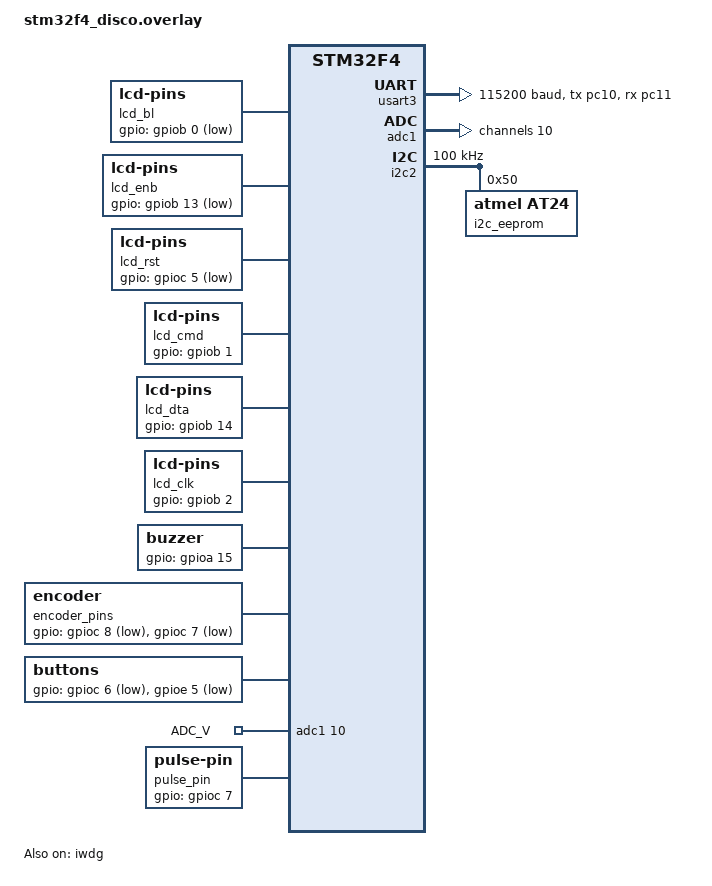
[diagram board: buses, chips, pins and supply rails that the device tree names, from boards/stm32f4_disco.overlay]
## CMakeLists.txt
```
# SPDX-License-Identifier: Apache-2.0

cmake_minimum_required(VERSION 3.20.0)

set(ZEPHYR_EXTRA_MODULES $ENV{ZEPHYR_BASE}../../modules/zpp)
find_package(Zephyr REQUIRED HINTS $ENV{ZEPHYR_BASE})
project(Project)

FILE(GLOB app_sources ${PROJECT_SOURCE_DIR}/src/*.cpp)
target_sources(app PRIVATE ${app_sources})

include_directories(inc)
```

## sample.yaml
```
sample:
  name: DS18B20 Sogi PLL Control
common:
  harness: console
  tags: sensors
tests:
  sample.sensor.ds18b20.w1_serial:
    platform_allow:
      - stm32l1_disco
      - stm32f4_disco
    integration_platforms:
      - stm32l1_disco
      - stm32f4_disco
    harness_config:
      type: one_line
      regex:
        - "Temp: (.*)"
      fixture: fixture_w1_serial_ds18b20
    platform_allow: stm32l1_disco
    integration_platforms:
      - stm32l1_disco
    harness_config:
      type: one_line
      regex:
        - "Temp: (.*)"
```

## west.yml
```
# Copyright (c) 2021 Nordic Semiconductor ASA
# SPDX-License-Identifier: Apache-2.0

manifest:
  remotes:    
    - name: zephyr_cergan
      url-base: https://github.com/coskunergan
    - name: zpp_remote
      url-base: https://github.com/lowlander      

  projects:
    - name: zephyr
      remote: zephyr_cergan
      clone-depth: 1
      revision: zephyr_cergan
      import:
        name-allowlist:
          - cmsis
          - cmsis-dsp
          - hal_stm32
    - name: zpp
      remote: zpp_remote
      revision: master
      path: modules/zpp          
```

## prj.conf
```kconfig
CONFIG_SENSOR=y
CONFIG_W1=y
CONFIG_ADC=y
CONFIG_ADC_ASYNC=y
CONFIG_GPIO=y
CONFIG_TEST=y
CONFIG_CPLUSPLUS=y
CONFIG_STD_CPP20=y
CONFIG_NEWLIB_LIBC=y
CONFIG_NEWLIB_LIBC_NANO=y
CONFIG_SPEED_OPTIMIZATIONS=y
CONFIG_NEWLIB_LIBC_FLOAT_PRINTF=y
CONFIG_CBPRINTF_FP_SUPPORT=y
CONFIG_LIB_CPLUSPLUS=y
CONFIG_HEAP_MEM_POOL_SIZE=1024
CONFIG_DEBUG_OPTIMIZATIONS=n
CONFIG_EEPROM=y
CONFIG_PRINTK=y
CONFIG_CMSIS_DSP=y
CONFIG_DAC=y
CONFIG_WATCHDOG=y
CONFIG_WDT_DISABLE_AT_BOOT=n
#CONFIG_COMPILER_OPT="-Wall -Wextra -Werror -Wno-error=empty-body -Wno-error=unused-parameter -Wno-error=type-limits -Wno-error=missing-field-initializers -Wno-error=sign-compare -Wno-error=ignored-qualifiers -Wno-error=old-style-declaration -Wno-error=cast-function-type"
```

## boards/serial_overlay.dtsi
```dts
&usart3 {
	status = "okay";

	w1_0: w1-zephyr-serial-0 {
		compatible = "zephyr,w1-serial";
		#address-cells = <1>;
		#size-cells = <0>;
		status = "okay";

		ds18b20 {
			compatible = "maxim,ds18b20";
			family-code = <0x28>;
			resolution = <12>;
			status = "okay";
		};
	};
};

&adc1 {
	pinctrl-0 = <&adc_in10_pc0>;
	pinctrl-names = "default";
	status = "okay";
};
```

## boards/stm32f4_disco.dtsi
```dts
&usart3 {
	status = "okay";

	w1_0: w1-zephyr-serial-0 {
		compatible = "zephyr,w1-serial";
		#address-cells = <1>;
		#size-cells = <0>;
		status = "okay";

		ds18b20 {
			compatible = "maxim,ds18b20";
			family-code = <0x28>;
			resolution = <12>;
			status = "okay";
		};
	};
};

&adc1 {
	pinctrl-0 = <&adc1_in10_pc0>;
	pinctrl-names = "default";
	st,adc-prescaler = <2>;
	status = "okay";
};

&dac1 {
	pinctrl-0 = <&dac_out2_pa5>;
	pinctrl-names = "default";	
	status = "okay";
};

&i2c2{
	pinctrl-0 = <&i2c2_scl_pb10 &i2c2_sda_pb11>;
	pinctrl-names = "default";
	status = "okay";	
};
```

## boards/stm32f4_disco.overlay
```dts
#include "stm32f4_disco.dtsi"

/ {
	lcd_bl: lcd_bl {			
		compatible = "lcd-pins";
		gpios = <&gpiob 0 GPIO_ACTIVE_LOW>;	
	};
	lcd_enb: lcd_enb {			
		compatible = "lcd-pins";
		gpios = <&gpiob 13 GPIO_ACTIVE_LOW>;
	};
	lcd_rst: lcd_rst {			
		compatible = "lcd-pins";
		gpios = <&gpioc 5 GPIO_ACTIVE_LOW>;
	};		
	lcd_cmd: lcd_cmd {			
		compatible = "lcd-pins";
		gpios = <&gpiob 1 GPIO_ACTIVE_HIGH>;
	};		
	lcd_dta: lcd_dta {			
		compatible = "lcd-pins";
		gpios = <&gpiob 14 GPIO_ACTIVE_HIGH>;
	};		
	lcd_clk: lcd_clk {			
		compatible = "lcd-pins";
		gpios = <&gpiob 2 GPIO_ACTIVE_HIGH>;
	};			
	buzzer: buzzer {
		compatible = "buzzer";
		gpios = <&gpioa 15 GPIO_ACTIVE_HIGH>;
	};
	encoder_pins: encoder_pins {
		compatible = "encoder";
		gpios = <&gpioc 8 (GPIO_ACTIVE_LOW | GPIO_PULL_UP)>,
				<&gpioc 7 (GPIO_ACTIVE_LOW | GPIO_PULL_UP)>;
	};
	buttons: buttons {
		compatible = "buttons";
		gpios = <&gpioc 6 (GPIO_ACTIVE_LOW | GPIO_PULL_UP)>,
				<&gpioe 5 (GPIO_ACTIVE_LOW | GPIO_PULL_UP)>;
	};	
	zephyr,user {
		/* adjust channel number according to pinmux in board.dts */
		io-channels = <&adc1 10>;
		io-channel-names = "ADC_V";
		dac = <&dac1>;
		dac-channel-id = <2>;
		dac-resolution = <12>;			
	};	
	aliases {		
		eeprom-0 = &i2c_eeprom;
		watchdog0 = &iwdg;
	};	
	pulse_pin: pulse_pin {			
		compatible = "pulse-pin";
		gpios = <&gpioc 7 GPIO_ACTIVE_HIGH>;
	};					
};

&usart3 {
	pinctrl-0 = <&usart3_tx_pc10 &usart3_rx_pc11>;
	pinctrl-names = "default";
	current-speed = <115200>;
	status = "okay";
};

&usart3_tx_pc10 {
	drive-open-drain;
	bias-pull-up;
};

&adc1 {
	#address-cells = <1>;
	#size-cells = <0>;
 
	channel@10 {
		reg = <10>;
		zephyr,gain = "ADC_GAIN_1";
		zephyr,reference = "ADC_REF_INTERNAL";
		zephyr,acquisition-time = <ADC_ACQ_TIME_DEFAULT>;
		zephyr,resolution = <12>;
	};
};

&i2c2 {		
	//clock-frequency = <I2C_BITRATE_FAST>;
	clock-frequency = <I2C_BITRATE_STANDARD>;
	status = "okay";	
	i2c_eeprom: eeprom@50 {
		status = "okay";	
		compatible = "atmel,at24"; 		
		reg = <0x50>;//0x57
		size = <65536>;//256
		pagesize = <128>;//8
		address-width = <16>;//8
		timeout = <5>;
	};
};

&iwdg {
	status = "okay";
};

&wwdg {
	status = "disabled";
};
```

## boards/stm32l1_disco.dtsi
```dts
&usart3 {
	status = "okay";

	w1_0: w1-zephyr-serial-0 {
		compatible = "zephyr,w1-serial";
		#address-cells = <1>;
		#size-cells = <0>;
		status = "okay";

		ds18b20 {
			compatible = "maxim,ds18b20";
			family-code = <0x28>;
			resolution = <12>;
			status = "okay";
		};
	};
};

&adc1 {
	pinctrl-0 = <&adc_in10_pc0>;
	pinctrl-names = "default";
    st,adc-prescaler = <1>;
	status = "okay";
};

&dac1 {
	pinctrl-0 = <&dac_out2_pa5>;
	pinctrl-names = "default";	
	status = "okay";
};
```

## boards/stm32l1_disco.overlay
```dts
#include "stm32l1_disco.dtsi"

/ {	
	lcd_bl: lcd_bl {			
		compatible = "lcd-pins";
		gpios = <&gpiob 0 GPIO_ACTIVE_LOW>;	
	};
	lcd_enb: lcd_enb {			
		compatible = "lcd-pins";
		gpios = <&gpiob 13 GPIO_ACTIVE_LOW>;
	};
	lcd_rst: lcd_rst {			
		compatible = "lcd-pins";
		gpios = <&gpioc 5 GPIO_ACTIVE_LOW>;
	};		
	lcd_cmd: lcd_cmd {			
		compatible = "lcd-pins";
		gpios = <&gpiob 1 GPIO_ACTIVE_HIGH>;
	};		
	lcd_dta: lcd_dta {			
		compatible = "lcd-pins";
		gpios = <&gpiob 14 GPIO_ACTIVE_HIGH>;
	};		
	lcd_clk: lcd_clk {			
		compatible = "lcd-pins";
		gpios = <&gpiob 2 GPIO_ACTIVE_HIGH>;
	};			
	buzzer: buzzer {
		compatible = "buzzer";
		gpios = <&gpioa 11 GPIO_ACTIVE_LOW>;
	};
	encoder_pins: encoder_pins {
		compatible = "encoder";
		gpios = <&gpiob 5 (GPIO_ACTIVE_LOW | GPIO_PULL_UP)>,
				<&gpiob 4 (GPIO_ACTIVE_LOW | GPIO_PULL_UP)>;
	};
	buttons: buttons {
		compatible = "buttons";
		gpios = <&gpioa 0 (GPIO_ACTIVE_LOW | GPIO_PULL_UP)>,
				<&gpioc 13 (GPIO_ACTIVE_LOW | GPIO_PULL_UP)>;
	};
	zephyr,user {
		/* adjust channel number according to pinmux in board.dts */
		io-channels = <&adc1 10>;
		io-channel-names = "ADC_V";

		dac = <&dac1>;
		dac-channel-id = <2>;
		dac-resolution = <12>;		
	};	
	aliases {
		//eeprom-0 = &eeprom;
		eeprom-0 = &i2c_eeprom;
		watchdog0 = &iwdg;
	};
	pulse_pin: pulse_pin {			
		compatible = "pulse-pin";
		gpios = <&gpioc 7 GPIO_ACTIVE_HIGH>;
	};	
};

&usart3 {
	pinctrl-0 = <&usart3_tx_pc10 &usart3_rx_pc11>;
	pinctrl-names = "default";
	current-speed = <115200>;
	status = "okay";
};

&usart3_tx_pc10 {
	drive-open-drain;
	bias-pull-up;
};

&adc1 {
	#address-cells = <1>;
	#size-cells = <0>;
 
	channel@10 {
		reg = <10>;
		zephyr,gain = "ADC_GAIN_1";
		zephyr,reference = "ADC_REF_INTERNAL";
		zephyr,acquisition-time = <ADC_ACQ_TIME_DEFAULT>;
		zephyr,resolution = <12>;
	};
};

&eeprom {	
	status = "okay";	
};

&i2c2 {		
	//clock-frequency = <I2C_BITRATE_FAST>;
	clock-frequency = <I2C_BITRATE_STANDARD>;
	status = "okay";	
	i2c_eeprom: eeprom@50 {
		status = "okay";	
		compatible = "atmel,at24"; 
		supply-gpios = <&gpiob 12 GPIO_ACTIVE_HIGH>;
		reg = <0x50>;//0x57
		size = <65536>;//256
		pagesize = <128>;//8
		address-width = <16>;//8
		timeout = <5>;
	};
};

&iwdg {
	status = "okay";
};

&wwdg {
	status = "disabled";
};
```

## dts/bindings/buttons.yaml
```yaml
description: GPIO input pin to buttons

compatible: "buttons"

properties:
  gpios:
    type: phandle-array
    required: true
    description: |
      The GPIO connected to the button pins
```

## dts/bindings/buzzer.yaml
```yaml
description: GPIO pin to buzzer

compatible: "buzzer"

properties:
  gpios:
    type: phandle-array
    required: true
    description: |
      The GPIO connected to the buzzer pin
```

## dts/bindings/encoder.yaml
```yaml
description: GPIO input pin to encoder

compatible: "encoder"

properties:
  gpios:
    type: phandle-array
    required: true
    description: |
      The GPIO connected to the encoder pin
```

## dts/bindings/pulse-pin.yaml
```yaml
description: GPIO pin to switch a pulse

compatible: "pulse-pin"

properties:
  gpios:
    type: phandle-array
    required: true
    description: |
      The GPIO connected to the pulse
```

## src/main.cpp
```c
/*
    Main.cpp

    Created on: July 31, 2023

    Author: Coskun ERGAN
*/
#include <inttypes.h>
#include <stddef.h>
#include <stdint.h>
#include <zephyr/drivers/gpio.h>
#include <zephyr/kernel.h>
#include <zephyr/device.h>
#include <zephyr/devicetree.h>
#include <zephyr/drivers/sensor.h>
#include <zephyr/drivers/adc.h>
#include <zephyr/sys/util.h>
#include <zephyr/drivers/eeprom.h>
#include <zephyr/drivers/dac.h>
#include <zephyr/drivers/watchdog.h>

#include <zpp.hpp>
#include <chrono>
#include "printf_io.h"
#include "button.h"
#include "buzzer.h"
#include "encoder.h"
#include "adc_io.h"
#include "mc_spll.h"
#include "arm_math.h"

#define EEPROM_SETVAL_OFFSET 0

#define STACK_SIZE (1024 + CONFIG_TEST_EXTRA_STACK_SIZE)

using namespace zpp;
using namespace std::chrono;
using namespace device_printf;
using namespace device_button;
using namespace device_buzzer;
using namespace device_encoder;
using namespace device_adc;
using namespace control;

#define NUM_THREADS 5
#define OFFSET_PHASE 90
#define PULSE_OFF_DEGREE 170
ADC adc;

SPLL Phase;

typedef enum
{
    ac_input = 0,
} adc_t;

mutex enc_mutex;
mutex btn_mutex;

bool set_mode_enable = false;
float set_value;
float measure_value;
uint8_t set_degree = PULSE_OFF_DEGREE;
int menu_timeout;
int wdt_channel_id;
const struct device *const wdt = DEVICE_DT_GET(DT_ALIAS(watchdog0));
int iwdt_count = 0;
#define IWDT_ADC_NUMBER     1
#define IWDT_SENSOR_NUMBER  2
#define IWDT_DISPLAY_NUMBER 4
#define IWDT_CHECK_NUMBER ( IWDT_ADC_NUMBER + IWDT_SENSOR_NUMBER + IWDT_DISPLAY_NUMBER )

const struct gpio_dt_spec supply_pin = GPIO_DT_SPEC_GET_OR(DT_NODELABEL(i2c_eeprom), supply_gpios,
                                       {
                                           0
                                       });

static const struct gpio_dt_spec pulse_pin =
    GPIO_DT_SPEC_GET_OR(DT_NODELABEL(pulse_pin), gpios,
                        {
                            0
                        });


#define ZEPHYR_USER_NODE DT_PATH(zephyr_user)

#if (DT_NODE_HAS_PROP(ZEPHYR_USER_NODE, dac) && \
	DT_NODE_HAS_PROP(ZEPHYR_USER_NODE, dac_channel_id) && \
	DT_NODE_HAS_PROP(ZEPHYR_USER_NODE, dac_resolution))
#define DAC_NODE DT_PHANDLE(ZEPHYR_USER_NODE, dac)
#define DAC_CHANNEL_ID DT_PROP(ZEPHYR_USER_NODE, dac_channel_id)
#define DAC_RESOLUTION DT_PROP(ZEPHYR_USER_NODE, dac_resolution)
#else

#endif

static const struct device *const dac_dev = DEVICE_DT_GET(DAC_NODE);

static const struct dac_channel_cfg dac_ch_cfg =
{
    .channel_id  = DAC_CHANNEL_ID,
    .resolution  = DAC_RESOLUTION,
    .buffered = true
};


namespace
{
    ZPP_THREAD_STACK_ARRAY_DEFINE(tstack, NUM_THREADS, STACK_SIZE);
    thread_data tcb[NUM_THREADS];
    thread t[NUM_THREADS];
}

static const struct device *get_eeprom_device(void)
{
    const struct device *dev = DEVICE_DT_GET(DT_ALIAS(eeprom_0));

    if(!device_is_ready(dev))
    {
        printk("\nError: Device \"%s\" is not ready; "
               "check the driver initialization logs for errors.\n",
               dev->name);
        return NULL;
    }

    printk("Found EEPROM device \"%s\"\n", dev->name);
    return dev;
}

static const struct device *get_ds18b20_device(void)
{
    const struct device *const dev = DEVICE_DT_GET_ANY(maxim_ds18b20);

    if(!dev)
    {
        /* No such node, or the node does not have status "okay". */
        printf("\nError: no device found.\n");
        return NULL;
    }

    if(!device_is_ready(dev))
    {
        printf("\nError: Device \"%s\" is not ready; "
               "check the driver initialization logs for errors.\n",
               dev->name);
        return NULL;
    }

    printf("Found device \"%s\", getting sensor data\n", dev->name);
    return dev;
}

float run_min_max_filter(float val)
{
    static float measure_value_arr[5] = {-99, 99, -99, 99, -99};
    static uint8_t index = 0;
    uint8_t min_index;
    uint8_t max_index;
    uint8_t catch_index = 0x1F;
    uint8_t i, j;
    float temp_min;
    float temp_max;
    measure_value_arr[index] = val;
    index++;
    index %= 5;
    for(j = 0; j < 2; j++)
    {
        //------- find min -------
        for(i = 0; i < 5; i++)
        {
            if(catch_index & (1U << i))
            {
                break;
            }
        }
        temp_min = measure_value_arr[i];
        for(i = 0; i < 5; i++)
        {
            if((catch_index & (1U << i)) && (measure_value_arr[i] < temp_min))
            {
                temp_min = measure_value_arr[i];
                min_index = i;
            }
        }
        catch_index &= ~(1U << min_index);
        //------- find max -------
        for(i = 0; i < 5; i++)
        {
            if(catch_index & (1U << i))
            {
                break;
            }
        }
        temp_max = measure_value_arr[i];
        for(i = 0; i < 5; i++)
        {
            if((catch_index & (1U << i)) && (measure_value_arr[i] > temp_max))
            {
                temp_max = measure_value_arr[i];
                max_index = i;
            }
        }
        catch_index &= ~(1U << max_index);
    }
    for(i = 0; i < 5; i++)
    {
        catch_index >>= 1U;
        if(catch_index == 0)
        {
            break;
        }
    }
    return measure_value_arr[i];
}

void sensor_task(int my_id) noexcept
{
    float measure;
    struct sensor_value temp;
    const struct device *dev = get_ds18b20_device();
    if(dev == NULL)
    {
        return;
    }
    for(;;)
    {
        int rc = sensor_sample_fetch(dev);
        if(rc == 0)
        {
            sensor_channel_get(dev, SENSOR_CHAN_AMBIENT_TEMP, &temp);
            //printf("\rTemp: %d.%06d   ", temp.val1, temp.val2);
            temp.val1 = (temp.val1 < 10) ? 10 : (temp.val1 > 45) ? 45 : temp.val1;
            measure = sensor_value_to_double(&temp);
            iwdt_count |= IWDT_SENSOR_NUMBER;
        }
        else
        {
            measure = 88.8;
        }
        measure_value = run_min_max_filter(measure);
        this_thread::sleep_for(2000ms);
        if(iwdt_count == IWDT_CHECK_NUMBER)
        {
            wdt_feed(wdt, wdt_channel_id);
        }
        iwdt_count = 0;
    }
}

void adc_task(int my_id) noexcept
{
    int degree;
    wdt_feed(wdt, wdt_channel_id);
    if(!device_is_ready(dac_dev))
    {
        printk("DAC device %s is not ready\n", dac_dev->name);
        return;
    }
    int ret = dac_channel_setup(dac_dev, &dac_ch_cfg);
    if(ret != 0)
    {
        printk("Setting up of DAC channel failed with code %d\n", ret);
        return;
    }
    gpio_pin_configure_dt(&pulse_pin, GPIO_OUTPUT_INACTIVE);
    Phase.reset();
    this_thread::sleep_for(500ms);
    adc.readAsyncISR(250us, [&](size_t idx, int16_t val)
    {
        switch((adc_t)idx)
        {
            case ac_input:
                Phase.transfer_1phase(val); // ~181uS CM3 32MHz
                degree = ((Phase.phase() / PI) * 180.0f);
                degree += OFFSET_PHASE;
                degree %= 180;
                dac_write_value(dac_dev, DAC_CHANNEL_ID, degree * 11);
                if(!Phase.is_lock())
                {
                    gpio_pin_set_dt(&pulse_pin, false);
                }
                else if(degree > set_degree)
                {
                    gpio_pin_set_dt(&pulse_pin, true);
                }
                else if(degree > PULSE_OFF_DEGREE || degree < set_degree)
                {
                    gpio_pin_set_dt(&pulse_pin, false);
                }
                iwdt_count |= IWDT_ADC_NUMBER;
                break;
            default:
                break;
        }
    });

    PID pid;
    pid.param.kp = 7.5;
    pid.param.ki = 0.15;
    pid.param.kd = 0;
    pid.param.kc = 0.10;
    pid.param.i_min = 0;
    pid.param.i_max = PULSE_OFF_DEGREE;
    pid.reset();
    pid.pi_transfer(-1e+3);

    for(;;)
    {
        this_thread::sleep_for(500ms);
        set_degree = pid.pi_transfer(measure_value - set_value);
    }
}

void btn_task(int my_id) noexcept // ok
{
    unique_lock lk(btn_mutex);

    button.set_debounce_time(100ms);

    for(;;)
    {
        button.event_cv().wait(lk);
        buzzer.beep(20ms);
        printf_io.turn_off_bl_enable();
        set_mode_enable = !set_mode_enable;
        menu_timeout = 50; // ~5sn
    }
}

void enc_task(int my_id) noexcept // ok
{
    unique_lock lk(enc_mutex);

    for(;;)
    {
        encoder.event_cv().wait(lk);
        buzzer.beep(5ms);
        printf_io.turn_off_bl_enable();
        menu_timeout = 50; // ~5sn
    }
}

void display_task(int my_id) noexcept
{
    const struct device *eeprom = get_eeprom_device();
    char buffer[16];
    float temp_set_value;

    if(eeprom == nullptr)
    {
        return;
    }

    if(supply_pin.port)
    {
        gpio_pin_configure_dt(&supply_pin, GPIO_OUTPUT_ACTIVE);
    }

    int rc = eeprom_read(eeprom, EEPROM_SETVAL_OFFSET, &set_value, sizeof(set_value));
    if(rc < 0)
    {
        printk("Error: Couldn't read eeprom: err: %d.\n", rc);
        return;
    }
    temp_set_value = set_value;
    float freq_sum = 0;
    int freq = 0;
    for(;;)
    {
        this_thread::sleep_for(100ms);
        freq_sum -= freq_sum / 10;
        freq_sum += Phase.freq() * Phase.freq();
        freq = (freq == 0) ? 1 : freq;
        freq = (freq + ((freq_sum / 10) / freq)) / 2;
        printf("\rISI: %.1f %%%02d", measure_value, 99 - ((set_degree * 100) / (PULSE_OFF_DEGREE + 1)));
        if(set_mode_enable)
        {
            set_value = (float)encoder.get_count()  / 10;
            set_value = (set_value < 18.0) ? 18.0 : set_value;
            set_value = (set_value > 45.0) ? 45.0 : set_value;
            sprintf(buffer, "\nSET:>%.1f<%c%02d ", set_value, (Phase.is_lock()) ? 'L' : 'x', (uint8_t)(freq - 10));
        }
        else
        {
            encoder.set_count(set_value * 10);
            sprintf(buffer, "\nSET: %.1f %c%02d ", set_value, (Phase.is_lock()) ? 'L' : 'x', (uint8_t)(freq - 10));
        }
        printf(buffer);
        if(temp_set_value != set_value)
        {
            eeprom_write(eeprom, EEPROM_SETVAL_OFFSET, &set_value, sizeof(set_value));
            temp_set_value = set_value;
        }
        //set_degree = PULSE_OFF_DEGREE - ((set_value * 10) - 180);// test
        if(menu_timeout)
        {
            if(--menu_timeout == 0)
            {
                set_mode_enable = false;
            }
        }
        iwdt_count |= IWDT_DISPLAY_NUMBER;
    }
}

int main(void)
{
    int err;
    if(!device_is_ready(wdt))
    {
        printk("%s: device not ready.\n", wdt->name);
        return 0;
    }

    struct wdt_timeout_cfg wdt_config;
    wdt_config.flags = WDT_FLAG_RESET_SOC;
    wdt_config.window.min = 0U;
    wdt_config.window.max = 8000U;

    wdt_channel_id = wdt_install_timeout(wdt, &wdt_config);
    if(wdt_channel_id == -ENOTSUP)
    {
        /* IWDG driver for STM32 doesn't support callback */
        printk("Callback support rejected, continuing anyway\n");
        wdt_config.callback = NULL;
        wdt_channel_id = wdt_install_timeout(wdt, &wdt_config);
    }
    if(wdt_channel_id < 0)
    {
        printk("Watchdog install error\n");
        return 0;
    }

    err = wdt_setup(wdt, WDT_OPT_PAUSE_HALTED_BY_DBG);
    if(err < 0)
    {
        printk("Watchdog setup error\n");
        return 0;
    }

    printf_io.turn_off_bl_enable();
    printf("\rCoskun ERGAN  ");
    printf("\nVersion : 1.3 ");
    this_thread::sleep_for(1000ms);
    buzzer.beep(10ms);

    const thread_attr attrs(
        thread_prio::preempt(10),
        thread_inherit_perms::no,
        thread_suspend::no
    );

    t[0] = thread(tcb[0], tstack(0), attrs, enc_task, 1);
    t[1] = thread(tcb[1], tstack(1), attrs, btn_task, 2);
    t[2] = thread(tcb[2], tstack(2), attrs, sensor_task, 3);
    t[3] = thread(tcb[3], tstack(3), attrs, adc_task, 4);
    t[4] = thread(tcb[4], tstack(4), attrs, display_task, 5);

    for(int i = 0; i < NUM_THREADS; i++)
    {
        t[i].join();
    }

    return 0;
}
```

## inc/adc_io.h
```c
/*
    ADC Lib

    Created on: July 23, 2023

    Author: Coskun ERGAN
*/
#pragma once
#include <stdio.h>
#include <zephyr/drivers/adc.h>
#include <zephyr/devicetree.h>
#include <zephyr/drivers/gpio.h>
#include <zephyr/kernel.h>
#include <cassert>
#include <zephyr/irq.h>
#include <functional>

#include <zpp.hpp>
#include <zpp/timer.hpp>
#include <chrono>
#include <zpp/thread.hpp>
#include <zpp/fmt.hpp>

namespace device_adc
{
    using namespace zpp;
    using namespace std::chrono;
#if defined(ADC)
#undef ADC
#endif

#if !DT_NODE_EXISTS(DT_PATH(zephyr_user)) || \
	!DT_NODE_HAS_PROP(DT_PATH(zephyr_user), io_channels)
#error "No suitable devicetree overlay specified"
#endif

#define DT_SPEC_AND_COMMA(node_id, prop, idx) \
 	ADC_DT_SPEC_GET_BY_IDX(node_id, idx),

    class ADC
    {
    private:
        const struct adc_dt_spec _spec_dt;
        struct adc_sequence_options _options;
        struct adc_sequence _sequence;
        struct IsrContext
        {
            struct k_work work;
            ADC *self;
            int16_t buffer;
            int16_t sample;
            std::function<void(int16_t)> done_cb;
            enum adc_action state;
        } _isrContext;

    public:
        ADC(const struct adc_dt_spec &spec_dt)
            : _spec_dt(spec_dt)
        {
            int result = 0;

            result = adc_channel_setup_dt(&_spec_dt);
            assert(result == 0);

            k_work_init(&_isrContext.work, _soft_isr);
            _isrContext.self = this;
        }

        virtual void readAsync(microseconds us, std::function<void(int16_t)> &&handler)
        {
            _options =
            {
                .interval_us = us.count(),
                .callback = _hard_isr,
                .user_data = &_isrContext,
            };
            _sequence =
            {
                .options = &_options,
                .channels = BIT(_spec_dt.channel_cfg.channel_id),
                .buffer = &_isrContext.buffer,
                .buffer_size = sizeof(_isrContext.buffer),
                .resolution = _spec_dt.resolution,
            };
            _isrContext.done_cb = std::move(handler);
            _isrContext.state = ADC_ACTION_REPEAT;
            int res = adc_read_async(_spec_dt.dev, &_sequence, nullptr);
            assert(res == 0);
        }

        virtual void cancelRead()
        {
            _isrContext.done_cb = nullptr;
            _isrContext.state = ADC_ACTION_FINISH;
        }

        virtual int32_t get_voltage()
        {
            int32_t val_mv;
            if(_spec_dt.channel_cfg.differential)
            {
                val_mv = (int32_t)((int16_t)_isrContext.sample);
            }
            else
            {
                val_mv = (int32_t)_isrContext.sample;
            }
            adc_raw_to_millivolts_dt(&_spec_dt, &val_mv);
            return val_mv;
        }

    private:
        static void _soft_isr(struct k_work *work)
        {
            IsrContext *context = CONTAINER_OF(work, IsrContext, work);
            if(context->done_cb)
            {
                context->done_cb(context->sample);
            }
        }

        static enum adc_action _hard_isr(const struct device *,
                                         const struct adc_sequence *sequence,
                                         uint16_t sampling_index __unused)
        {
            IsrContext *context = static_cast<IsrContext *>(sequence->options->user_data);
            context->sample = context->buffer;
            k_work_submit(&context->work);
            return context->state;
        }
    };

    ADC adc[]
    {
        DT_FOREACH_PROP_ELEM(DT_PATH(zephyr_user), io_channels, (adc_dt_spec)DT_SPEC_AND_COMMA)
    };
}
```

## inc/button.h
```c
/*
    Button Lib

    Created on: July 26, 2023

    Author: Coskun ERGAN
*/

#pragma once
#include <stdio.h>
#include <zephyr/devicetree.h>
#include <zephyr/drivers/gpio.h>
#include <zephyr/kernel.h>

#include <zpp.hpp>
#include <zpp/timer.hpp>
#include <chrono>
#include <zpp/thread.hpp>
#include <zpp/fmt.hpp>

namespace device_button
{
    using namespace zpp;
    using namespace std::chrono;

#if !DT_NODE_EXISTS(DT_NODELABEL(buttons))
#error "Overlay for button node not properly defined."
#endif
    static const struct gpio_dt_spec buttons[] =
    {
        DT_FOREACH_PROP_ELEM_SEP(DT_NODELABEL(buttons), gpios,
                                 GPIO_DT_SPEC_GET_BY_IDX, (,))
    };

    static struct gpio_callback button_cb_data[ARRAY_SIZE(buttons)];
    static condition_variable button_cv;
    static milliseconds debounce_time;
    static size_t button_id;

    void timer_callback(timer_base *t);

    class timer_wrapper
    {
    public:
        timer_wrapper() noexcept : tmr(basic_timer(timer_callback)) {};
        basic_timer<void(*)(timer_base *)> tmr;
    };
    timer_wrapper timers[ARRAY_SIZE(buttons)];

    void timer_callback(timer_base *t) noexcept
    {
        for(size_t i = 0; i < ARRAY_SIZE(buttons); i++)
        {
            if(&timers[i].tmr == t)
            {
                gpio_add_callback(buttons[i].port, &button_cb_data[i]);
            }
        }
    }

    void button_isr(const struct device *dev, struct gpio_callback *cb, uint32_t pin) noexcept
    {
        for(size_t i = 0; i < ARRAY_SIZE(buttons); i++)
        {
            if(&button_cb_data[i] == cb)
            {
                button_id = i;
                gpio_remove_callback(buttons[i].port, &button_cb_data[i]);
                timers[i].tmr.start(debounce_time);
            }
        }
        button_cv.notify_all();
    }

    class button
    {
    public:
        button()
        {
            set_debounce_time();
            for(size_t i = 0; i < ARRAY_SIZE(buttons); i++)
            {
                gpio_pin_configure_dt(&buttons[i], GPIO_INPUT);
                gpio_pin_interrupt_configure_dt(&buttons[i], GPIO_INT_EDGE_TO_ACTIVE);
                gpio_init_callback(&button_cb_data[i], button_isr, BIT(buttons[i].pin));
                gpio_add_callback(buttons[i].port, &button_cb_data[i]);
            }
        }
        ~button() = default;
        button(button &&) = delete;
        button &operator=(button &&) = delete;
        button(const button &) = delete;
        button &operator=(const button &) = delete;

        void set_debounce_time(milliseconds ms = 50ms)
        {
            debounce_time = ms;
        }

        milliseconds get_debounce_time()
        {
            return debounce_time;
        }

        size_t get_id()
        {
            return button_id;
        }

        condition_variable &event_cv()
        {
            return button_cv;
        }
    };

    button button;
}
```

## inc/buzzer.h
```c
/*
    Buzzer Lib

    Created on: March 13, 2023

    Author: Coskun ERGAN
*/

#pragma once
#include <stdio.h>
#include <zephyr/devicetree.h>
#include <zephyr/drivers/gpio.h>
#include <zephyr/kernel.h>

#include <zpp.hpp>
#include <zpp/timer.hpp>
#include <chrono>
#include <zpp/thread.hpp>
#include <zpp/fmt.hpp>

namespace device_buzzer
{
    using namespace zpp;
    using namespace std::chrono;
#if !DT_NODE_EXISTS(DT_NODELABEL(buzzer))
#error "Overlay for gipo node not properly defined."
#endif

    static const struct gpio_dt_spec buzzer_pin =
        GPIO_DT_SPEC_GET_OR(DT_NODELABEL(buzzer), gpios,
                            {
                                0
                            });

    void timer_callback(timer_base *t) noexcept
    {
        gpio_pin_set_dt(&buzzer_pin, false);
    }

    auto m_t = make_timer(timer_callback);

    class buzzer
    {
    public:
        buzzer()
        {
            gpio_pin_configure_dt(&buzzer_pin, GPIO_OUTPUT_INACTIVE);
        }
        ~buzzer() = default;
        buzzer(buzzer &&) = delete;
        buzzer &operator=(buzzer &&) = delete;
        buzzer(const buzzer &) = delete;
        buzzer &operator=(const buzzer &) = delete;

        void beep(milliseconds ms = 50ms)
        {
            gpio_pin_set_dt(&buzzer_pin, true);
            m_t.start(ms);
        }
    private:
    };

    buzzer buzzer;
}
```

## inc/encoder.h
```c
/*
    Encoder Lib

    Created on: March 13, 2023

    Author: Coskun ERGAN
*/

#pragma once
#include <stdio.h>
#include <zephyr/devicetree.h>
#include <zephyr/drivers/gpio.h>
#include <zephyr/kernel.h>

#include <zpp.hpp>
#include <zpp/timer.hpp>
#include <chrono>
#include <zpp/thread.hpp>
#include <zpp/fmt.hpp>
#include <zpp/atomic_var.hpp>

namespace device_encoder
{
    using namespace zpp;
    using namespace std::chrono;
#if !DT_NODE_EXISTS(DT_NODELABEL(encoder_pins))
#error "Overlay for gpio node not properly defined."
#endif
    static const struct gpio_dt_spec encoder_pins[2] =
    {
        GPIO_DT_SPEC_GET_BY_IDX(DT_NODELABEL(encoder_pins), gpios, 0),
        GPIO_DT_SPEC_GET_BY_IDX(DT_NODELABEL(encoder_pins), gpios, 1)
    };

    static struct gpio_callback encoder_cb_data;
    static milliseconds m_debounce_time;
    static atomic_var m_atomic_count;
    static condition_variable m_encoder_cv;

    void timer_callback(timer_base *t)
    {
        gpio_add_callback(encoder_pins[0].port, &encoder_cb_data);
    }

    basic_timer timer = basic_timer(timer_callback);

    void encoder_isr(const struct device *dev, struct gpio_callback *cb, uint32_t pin) noexcept
    {
        if(gpio_pin_get_dt(&encoder_pins[1]))
        {
            ++m_atomic_count;
        }
        else
        {
            --m_atomic_count;
        }
        gpio_remove_callback(encoder_pins[0].port, &encoder_cb_data);
        timer.start(m_debounce_time);
        m_encoder_cv.notify_all();
    }

    class encoder
    {
    public:
        encoder()
        {
            set_debounce_time();
            gpio_pin_configure_dt(&encoder_pins[0], GPIO_INPUT);
            gpio_pin_configure_dt(&encoder_pins[1], GPIO_INPUT);
            gpio_pin_interrupt_configure_dt(&encoder_pins[0], GPIO_INT_EDGE_TO_ACTIVE);
            gpio_init_callback(&encoder_cb_data, encoder_isr, BIT(encoder_pins[0].pin));
            gpio_add_callback(encoder_pins[0].port, &encoder_cb_data);
        }
        ~encoder() = default;
        encoder(encoder &&) = delete;
        encoder &operator=(encoder &&) = delete;
        encoder(const encoder &) = delete;
        encoder &operator=(const encoder &) = delete;

        void set_debounce_time(milliseconds ms = 50ms)
        {
            m_debounce_time = ms;
        }

        milliseconds get_debounce_time()
        {
            return m_debounce_time;
        }

        int get_count()
        {
            return m_atomic_count; // m_atomic_count.load();
        }

        void set_count(int val)
        {
            m_atomic_count = val; // m_atomic_count.store(val);
        }

        condition_variable &event_cv()
        {
            return m_encoder_cv;
        }
    };

    encoder encoder;
}
```

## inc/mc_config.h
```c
/*
    Control Config

    Created on: March 13, 2023

    Author: Coskun ERGAN
*/
#if !defined(__INCLUDE_CONTROL_MC_CONFIG_H__)
#define __INCLUDE_CONTROL_MC_CONFIG_H__
#include <inttypes.h>
#include <stddef.h>
#include <stdint.h>
#include <zephyr/kernel.h>
namespace control
{
    using value_t = float;

    constexpr value_t T = 1 / 4000.0f; 

    template<typename T>
	
    struct constant_value;
    
    template<>
	
    struct constant_value<value_t>
    {
        static constexpr value_t ZERO = 0;

        static constexpr value_t PI = 3.14159265358979323f;

        static constexpr value_t HALF_PI = PI / 2;
    
        static constexpr value_t TAU = PI * 2;

        static constexpr value_t MAX = 4096;
    
        static constexpr value_t MIN = 0;
    };

}
#endif
```

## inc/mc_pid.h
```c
/*
    PID Lib

    Created on: March 13, 2023

    Author: Coskun ERGAN
*/

#if !defined(__INCLUDE_CONTROL_MC_PID_H__)
#define __INCLUDE_CONTROL_MC_PID_H__
#include "mc_config.h"
namespace control
{
    class PID final
    {
    public:
        struct Factors
        {
            value_t kp;

            value_t ki;

            value_t kd;

            value_t kg;

            value_t kc;

            value_t i_min;

            value_t i_max;
        };

        PID() = default;
        ~PID() = default;

        PID(const PID &) = delete;
        PID &operator=(const PID &) = delete;

        PID(PID &&) = delete;
        PID &operator=(PID &&) = delete;

        Factors param = {0};

        void reset() noexcept;

        value_t p_transfer(value_t e) noexcept;

        value_t pi_transfer(value_t e) noexcept;
		
        value_t pd_transfer(value_t e) noexcept;

        value_t pid_transfer(value_t e) noexcept;

    private:
        value_t sat_err = 0;

        value_t i_sum = 0;
    };
}
#endif
```

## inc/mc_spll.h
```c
/*
    SOGI PLL Library

    Created on: March 13, 2023

    Author: Coskun ERGAN
*/
#if !defined(__INCLUDE_CONTROL_MC_SPLL_H__)
#define __INCLUDE_CONTROL_MC_SPLL_H__
#include "mc_pid.h"
#include "mc_config.h"
namespace control
{
    class SPLL final
    {
    public:

        static constexpr value_t Ti = T;

        static constexpr value_t TARGET_FREQ = 50;

        static constexpr size_t N_SAMPLE = static_cast<size_t>((1 / Ti) / TARGET_FREQ);

        SPLL();
        ~SPLL() = default;

        SPLL(SPLL &&) = delete;
        SPLL &operator=(SPLL &&) = delete;

        SPLL(const SPLL &) = delete;
        SPLL &operator=(const SPLL &) = delete;

        void reset();

        void transfer_1phase(value_t val);

        bool is_lock(value_t th = 50e-3f) const;

        inline value_t freq() const noexcept
        {
            return omega / constant_value<value_t>::TAU;
        }

        inline value_t phase() const noexcept
        {
            return cur_phase;
        }
    private:

        PID pid;

        bool launch_loop;

        uint16_t sample_index;

        value_t omega;

        value_t cur_phase;

        value_t auto_offset_min;

        value_t auto_offset_max;

        value_t sogi_s1;

        value_t sogi_s2;

        value_t last_error;

        value_t auto_offset(value_t inp);
    };
}
#endif
```

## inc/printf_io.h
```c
/*
    C Type Printf Implementation

    Created on: July 26, 2023

    Author: Coskun ERGAN
*/

#pragma once
#include <stdio.h>
#include <zephyr/devicetree.h>
#include <zephyr/drivers/gpio.h>
#include <zephyr/kernel.h>

#include <zpp.hpp>
#include <zpp/timer.hpp>
#include <chrono>
#include <zpp/thread.hpp>
#include <zpp/fmt.hpp>

namespace device_printf
{
    using namespace zpp;
    using namespace std::chrono;

    extern "C" void __stdout_hook_install(int (*fn)(int));
    extern "C" int printf_io_write(int c);

    static const struct gpio_dt_spec lcd_bl =
        GPIO_DT_SPEC_GET_OR(DT_NODELABEL(lcd_bl), gpios,
                            {
                                0
                            });
    static const struct gpio_dt_spec lcd_rst =
        GPIO_DT_SPEC_GET_OR(DT_NODELABEL(lcd_rst), gpios,
                            {
                                0
                            });
    static const struct gpio_dt_spec lcd_enb =
        GPIO_DT_SPEC_GET_OR(DT_NODELABEL(lcd_enb), gpios,
                            {
                                0
                            });
    static const struct gpio_dt_spec lcd_cmd =
        GPIO_DT_SPEC_GET_OR(DT_NODELABEL(lcd_cmd), gpios,
                            {
                                0
                            });
    static const struct gpio_dt_spec lcd_dta =
        GPIO_DT_SPEC_GET_OR(DT_NODELABEL(lcd_dta), gpios,
                            {
                                0
                            });
    static const struct gpio_dt_spec lcd_clk =
        GPIO_DT_SPEC_GET_OR(DT_NODELABEL(lcd_clk), gpios,
                            {
                                0
                            });

    const uint8_t init_params[] =
    {
        0xF1, 0x0F, 0xF8, 0x01, 0x06, 0xF0, 0x00, 0x2D, 0xA8, 0xA3, 0x81, 0x8, 0xFF
    };

    const uint8_t char_table[111][6] =
    {
        0x00, 0x00, 0x00, 0x00, 0x00, 0x00, // SPACE
        0x00, 0x00, 0x5F, 0x00, 0x00, 0x00, // !
        0x00, 0x03, 0x00, 0x03, 0x00, 0x00, // "
        0x14, 0x3E, 0x14, 0x3E, 0x14, 0x00, // #
        0x24, 0x2A, 0x7F, 0x2A, 0x12, 0x00, // $
        0x43, 0x33, 0x08, 0x66, 0x61, 0x00, // %
        0x36, 0x49, 0x55, 0x22, 0x50, 0x00, // &
        0x00, 0x05, 0x03, 0x00, 0x00, 0x00, // '
        0x00, 0x1C, 0x22, 0x41, 0x00, 0x00, // (
        0x00, 0x41, 0x22, 0x1C, 0x00, 0x00, // )
        0x14, 0x08, 0x3E, 0x08, 0x14, 0x00, // *
        0x08, 0x08, 0x3E, 0x08, 0x08, 0x00, // +
        0x00, 0x50, 0x30, 0x00, 0x00, 0x00, // ,
        0x08, 0x08, 0x08, 0x08, 0x08, 0x00, // -
        0x00, 0x60, 0x60, 0x00, 0x00, 0x00, // .
        0x20, 0x10, 0x08, 0x04, 0x02, 0x00, // /
        0x3E, 0x51, 0x49, 0x45, 0x3E, 0x00, // 0
        0x04, 0x02, 0x7F, 0x00, 0x00, 0x00, // 1
        0x42, 0x61, 0x51, 0x49, 0x46, 0x00, // 2
        0x22, 0x41, 0x49, 0x49, 0x36, 0x00, // 3
        0x18, 0x14, 0x12, 0x7F, 0x10, 0x00, // 4
        0x27, 0x45, 0x45, 0x45, 0x39, 0x00, // 5
        0x3E, 0x49, 0x49, 0x49, 0x32, 0x00, // 6
        0x01, 0x01, 0x71, 0x09, 0x07, 0x00, // 7
        0x36, 0x49, 0x49, 0x49, 0x36, 0x00, // 8
        0x26, 0x49, 0x49, 0x49, 0x3E, 0x00, // 9
        0x00, 0x36, 0x36, 0x00, 0x00, 0x00, // :
        0x00, 0x56, 0x36, 0x00, 0x00, 0x00, // ;
        0x08, 0x14, 0x22, 0x41, 0x00, 0x00, // <
        0x14, 0x14, 0x14, 0x14, 0x14, 0x00, // =
        0x00, 0x41, 0x22, 0x14, 0x08, 0x00, // >
        0x02, 0x01, 0x51, 0x09, 0x06, 0x00, // ?
        0x00, 0x06, 0x09, 0x09, 0x06, 0x00, // @
        0x7E, 0x09, 0x09, 0x09, 0x7E, 0x00, // A
        0x7F, 0x49, 0x49, 0x49, 0x36, 0x00, // B
        0x3E, 0x41, 0x41, 0x41, 0x22, 0x00, // C
        0x7F, 0x41, 0x41, 0x41, 0x3E, 0x00, // D
        0x7F, 0x49, 0x49, 0x49, 0x41, 0x00, // E
        0x7F, 0x09, 0x09, 0x09, 0x01, 0x00, // F
        0x3E, 0x41, 0x41, 0x49, 0x3A, 0x00, // G
        0x7F, 0x08, 0x08, 0x08, 0x7F, 0x00, // H
        0x00, 0x41, 0x7F, 0x41, 0x00, 0x00, // I
        0x30, 0x40, 0x40, 0x40, 0x3F, 0x00, // J
        0x7F, 0x08, 0x14, 0x22, 0x41, 0x00, // K
        0x7F, 0x40, 0x40, 0x40, 0x40, 0x00, // L
        0x7F, 0x02, 0x0C, 0x02, 0x7F, 0x00, // M
        0x7F, 0x02, 0x04, 0x08, 0x7F, 0x00, // N
        0x3E, 0x41, 0x41, 0x41, 0x3E, 0x00, // O
        0x7F, 0x09, 0x09, 0x09, 0x06, 0x00, // P
        0x1E, 0x21, 0x21, 0x21, 0x5E, 0x00, // Q
        0x7F, 0x09, 0x09, 0x09, 0x76, 0x00, // R
        0x26, 0x49, 0x49, 0x49, 0x32, 0x00, // S
        0x01, 0x01, 0x7F, 0x01, 0x01, 0x00, // T
        0x3F, 0x40, 0x40, 0x40, 0x3F, 0x00, // U
        0x1F, 0x20, 0x40, 0x20, 0x1F, 0x00, // V
        0x7F, 0x20, 0x10, 0x20, 0x7F, 0x00, // W
        0x63, 0x14, 0x08, 0x14, 0x63, 0x00, // X
        0x07, 0x08, 0x70, 0x08, 0x07, 0x00, // Y
        0x61, 0x51, 0x49, 0x45, 0x43, 0x00, // Z
        0x00, 0x7F, 0x41, 0x00, 0x00, 0x00, // [
        0x02, 0x04, 0x08, 0x10, 0x20, 0x00, //
        0x00, 0x00, 0x41, 0x7F, 0x00, 0x00, // ]
        0x00, 0x06, 0x09, 0x09, 0x06, 0x00, // ^ -> degree
        0x40, 0x40, 0x40, 0x40, 0x40, 0x00, // _
        0x00, 0x01, 0x02, 0x04, 0x00, 0x00, // `
        0x20, 0x54, 0x54, 0x54, 0x78, 0x00, // a
        0x7F, 0x44, 0x44, 0x44, 0x38, 0x00, // b
        0x38, 0x44, 0x44, 0x44, 0x44, 0x00, // c
        0x38, 0x44, 0x44, 0x44, 0x7F, 0x00, // d
        0x38, 0x54, 0x54, 0x54, 0x18, 0x00, // e
        0x04, 0x04, 0x7E, 0x05, 0x05, 0x00, // f
        0x08, 0x54, 0x54, 0x54, 0x3C, 0x00, // g
        0x7F, 0x08, 0x04, 0x04, 0x78, 0x00, // h
        0x00, 0x44, 0x7D, 0x40, 0x00, 0x00, // i
        0x20, 0x40, 0x44, 0x3D, 0x00, 0x00, // j
        0x7F, 0x10, 0x28, 0x44, 0x00, 0x00, // k
        0x00, 0x41, 0x7F, 0x40, 0x00, 0x00, // l
        0x7C, 0x04, 0x78, 0x04, 0x78, 0x00, // m
        0x7C, 0x08, 0x04, 0x04, 0x78, 0x00, // n
        0x38, 0x44, 0x44, 0x44, 0x38, 0x00, // o
        0x7C, 0x14, 0x14, 0x14, 0x08, 0x00, // p
        0x08, 0x14, 0x14, 0x14, 0x7C, 0x00, // q
        0x00, 0x7C, 0x08, 0x04, 0x04, 0x00, // r
        0x48, 0x54, 0x54, 0x54, 0x20, 0x00, // s
        0x04, 0x04, 0x3F, 0x44, 0x44, 0x00, // t
        0x3C, 0x40, 0x40, 0x20, 0x7C, 0x00, // u
        0x1C, 0x20, 0x40, 0x20, 0x1C, 0x00, // v
        0x3C, 0x40, 0x30, 0x40, 0x3C, 0x00, // w
        0x44, 0x28, 0x10, 0x28, 0x44, 0x00, // x
        0x0C, 0x50, 0x50, 0x50, 0x3C, 0x00, // y
        0x44, 0x64, 0x54, 0x4C, 0x44, 0x00, // z
        0x00, 0x08, 0x36, 0x41, 0x41, 0x00, // {
        0x00, 0x00, 0x7F, 0x00, 0x00, 0x00, // |
        0x41, 0x41, 0x36, 0x08, 0x00, 0x00, // }
        0x02, 0x01, 0x02, 0x04, 0x02, 0x00, // ~
        0x30, 0x48, 0xC8, 0x48, 0x00, 0x00, //ç
        0x10, 0xAA, 0xAA, 0xA8, 0x70, 0x00, //ğ
        0x00, 0x00, 0x7C, 0x00, 0x00, 0x00, //ı
        0x38, 0x45, 0x44, 0x45, 0x38, 0x00, //ö
        0x58, 0x54, 0xD4, 0x54, 0x30, 0x00, //ş
        0x38, 0x41, 0x40, 0x41, 0x38, 0x00, //ü
        0x3E, 0x41, 0xC1, 0x41, 0x22, 0x00, //Ç
        0x3C, 0x43, 0x53, 0x53, 0x34, 0x00, //Ğ
        0x00, 0x00, 0x7D, 0x00, 0x00, 0x00, //İ
        0x3C, 0x43, 0x42, 0x43, 0x3C, 0x00, //Ö
        0x26, 0x49, 0xC9, 0x49, 0x32, 0x00, //Ş
        0x3C, 0x41, 0x40, 0x41, 0x3C, 0x00, //Ü
        0x00, 0x00, 0x11, 0x15, 0x0A, 0x00, //3
        0x10, 0x38, 0x7C, 0xFE, 0x38, 0x38, //<
        0x38, 0x38, 0xFE, 0x7C, 0x38, 0x10  //>
    };

    void timer_callback(timer_base *t) noexcept
    {
        gpio_pin_set_dt(&lcd_bl, false);
    }

    auto g_t = make_timer(timer_callback);

    class printf_io
    {
    public:
        printf_io()
        {
            __stdout_hook_install(printf_io_write);
            setvbuf(stdout, NULL, _IONBF, 0);
            gpio_pin_configure_dt(&lcd_rst, GPIO_OUTPUT_INACTIVE);
            gpio_pin_configure_dt(&lcd_bl, GPIO_OUTPUT_INACTIVE);
            gpio_pin_configure_dt(&lcd_enb, GPIO_OUTPUT_INACTIVE);
            gpio_pin_configure_dt(&lcd_cmd, GPIO_OUTPUT_INACTIVE);
            gpio_pin_configure_dt(&lcd_dta, GPIO_OUTPUT_INACTIVE);
            gpio_pin_configure_dt(&lcd_clk, GPIO_OUTPUT_INACTIVE);
            volatile uint8_t i = 0;
            gpio_pin_set_dt(&lcd_rst, true);
            while(--i);
            gpio_pin_set_dt(&lcd_enb, true);
            gpio_pin_set_dt(&lcd_rst, false);
            while(--i);
            gpio_pin_set_dt(&lcd_cmd, false);
            i = 0;
            do
            {
                io_send(init_params[i++]);
            }
            while(i <= sizeof(init_params));
            io_send(0xAF);
            io_send(0xB0);
            for(uint8_t i = 0; i < 16; i++)
            {
                gpio_pin_set_dt(&lcd_cmd, false);
                io_send(i);
                io_send(0x10);
                gpio_pin_set_dt(&lcd_cmd, true);
                io_send(0x00);
            }
            gpio_pin_set_dt(&lcd_cmd, false);
            io_send(0xB8);
            for(i = 0; i < 96; i++)
            {
                gpio_pin_set_dt(&lcd_cmd, false);
                io_send(i & 0xF);
                io_send((i >> 4) | 0x10);
                gpio_pin_set_dt(&lcd_cmd, true);
                io_send(0x00);
            }
            gpio_pin_set_dt(&lcd_cmd, false);
            io_send(0xB0);
            io_send(0x00);
            io_send(0x11);
            gpio_pin_set_dt(&lcd_cmd, true);
            ch_count = 0;
        }
        ~printf_io() = default;
        printf_io(printf_io &&) = delete;
        printf_io &operator=(printf_io &&) = delete;
        printf_io(const printf_io &) = delete;
        printf_io &operator=(const printf_io &) = delete;

        int io_putchar(int ch)
        {
            if((ch == '\r') || (ch_count > 25))
            {
                if(ch == '\r')
                {
                    ch_count = 0;
                }
                gpio_pin_set_dt(&lcd_cmd, false);
                io_send(0xB0);
                io_send(0x00);
                io_send(0x11);
                gpio_pin_set_dt(&lcd_cmd, true);

            }
            else if(ch == '\n')
            {
                if(ch_count < 14)
                {
                    ch_count = 13;
                    gpio_pin_set_dt(&lcd_cmd, false);
                    io_send(0xB1);
                    io_send(0x00);
                    io_send(0x11);
                    gpio_pin_set_dt(&lcd_cmd, true);
                }
            }
            else
            {
                if(++ch_count == 14)
                {
                    io_send(0);
                    io_send(0);
                    gpio_pin_set_dt(&lcd_cmd, false);
                    io_send(0xB1);
                    io_send(0x00);
                    io_send(0x11);
                    gpio_pin_set_dt(&lcd_cmd, true);
                }
                uint8_t temp = ch - 0x20;
                for(uint8_t i = 0; i < 6; i++)
                {
                    io_send(char_table[temp][i]);
                }
                if(ch_count == 26)
                {
                    io_send(0);
                    io_send(0);
                }
            }
            return ch;
        }

        void turn_off_bl_enable(milliseconds ms = 3000ms)
        {
            gpio_pin_set_dt(&lcd_bl, true);
            g_t.start(ms);
        }

    private:
        uint8_t ch_count;

        void io_send(uint8_t byte)
        {
            for(uint8_t i = 0; i < 8; i++)
            {
                gpio_pin_set_dt(&lcd_clk, false);
                if((byte & 0x80) == 0x80)
                {
                    gpio_pin_set_dt(&lcd_dta, true);
                }
                else
                {
                    gpio_pin_set_dt(&lcd_dta, false);
                }
                byte <<= 1;
                gpio_pin_set_dt(&lcd_clk, true);
            }
        }
    };

    printf_io printf_io;
    mutex m;

    extern "C" int printf_io_write(int c)
    {
        lock_guard g(m);
        printf_io.io_putchar(c);
        return c;
    }
}
```

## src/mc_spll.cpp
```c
/*
    S-PLL Library

    Created on: March 13, 2023

    Author: Coskun ERGAN
*/

#include "mc_spll.h"

extern "C" {
#include "arm_math.h"
}

using namespace control;

SPLL::SPLL()
{
    reset();
}

void SPLL::reset()
{
    cur_phase = 0;
    last_error = 0;
    launch_loop = false;
    sample_index = 0;
    sogi_s1 = 0;
    sogi_s2 = 0;
    auto_offset_min = constant_value<value_t>::MAX;
    auto_offset_max = constant_value<value_t>::MIN;

    pid.param.kp = 750;
    pid.param.ki = 15;
    pid.param.kd = 0;
    pid.param.kc = 10;
    pid.param.i_min = -(TARGET_FREQ + 15) * constant_value<value_t>::TAU;
    pid.param.i_max = +(TARGET_FREQ + 15) * constant_value<value_t>::TAU;

    pid.reset();
}

void SPLL::transfer_1phase(value_t val) // ~145 uSn 32MHz
{
    value_t v_org = auto_offset(val);

    if(sample_index < N_SAMPLE)
    {
        sample_index += 1;
        launch_loop = false;
        return;
    }
    else
    {
        launch_loop = true;
    }
    value_t v = v_org / (auto_offset_max - auto_offset_min);
    // SOGI: k
    constexpr value_t k = 1.414;
    // SOGI: w
    constexpr value_t w = TARGET_FREQ * constant_value<value_t>::TAU;
    // 2pi -> 360°
    constexpr value_t angle_k = 360 / constant_value<value_t>::TAU;

    value_t sogi_u = (k * (v - sogi_s1) - sogi_s2) * w;
    sogi_s1 += Ti * sogi_u;
    sogi_s2 += Ti * w * sogi_s1;
    //
    // VCO(park)
    //
    value_t ua = sogi_s1;
    value_t ub = sogi_s2;
    value_t theta = angle_k * cur_phase;
    value_t st, ct;
    arm_sin_cos_f32(theta, &st, &ct);
    value_t uq = ct * ub - st * ua;
    //
    // LPF (PI)
    //
    value_t e = 0 - uq;
    value_t u = pid.pi_transfer(e);

    value_t i = cur_phase;
    i += Ti * u;
    if(i > constant_value<value_t>::TAU)
    {
        i -= constant_value<value_t>::TAU;
    }
    else if(i < -constant_value<value_t>::TAU)
    {
        i += constant_value<value_t>::TAU;
    }

    omega = u;
    cur_phase = i;
    last_error = e;
}

bool SPLL::is_lock(value_t th) const
{
    return launch_loop && last_error < th;
}

value_t SPLL::auto_offset(value_t inp)
{
    auto_offset_max -= constant_value<value_t>::MAX / 1e+4f;
    auto_offset_min += constant_value<value_t>::MAX / 1e+4f;
    if(inp > auto_offset_max)
    {
        auto_offset_max = inp;
    }
    else if(inp < auto_offset_min)
    {
        auto_offset_min = inp;
    }
    value_t mid = (auto_offset_min + auto_offset_max) * 0.5f;
    return inp - mid;
}
```
